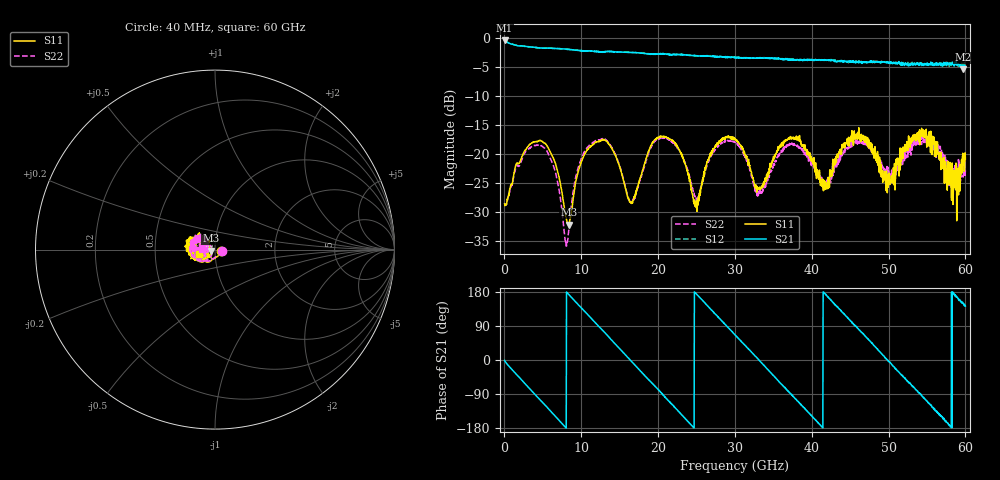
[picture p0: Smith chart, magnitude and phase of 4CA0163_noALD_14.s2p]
! File created by 'SoftPlot +Plus+ Measurement Management Software'
! SoftPlot +Plus+ Measurement Management Software
! Start 40.000000 MHz  Stop 60.000000 GHz  Points 1601
# MHZ S RI R 50
! S-Parameter data, F S11 S21 S12 S22
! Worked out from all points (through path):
!   1601 points, 40 MHz to 60 GHz, reference 50 ohm
!   highest |S21| = -0.35 dB at 40 MHz (marker M1); lowest = -5.3 dB at 59.66 GHz (marker M2)
!   group delay of S21, straight-line fit = 59.8 ps
!   lowest |S11| = -32.2 dB at 8.397 GHz (marker M3), VSWR 1.05, Z = 47.7 - j0.515 ohm
!   |S11| at or under -10 dB: start of sweep to end of sweep
!   |S22| runs from -35.9 to -16.8 dB; largest |S21 - S12| = 0.075
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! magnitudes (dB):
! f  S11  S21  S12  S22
! 40 MHz  -28.5  -0.3  -0.4  -28.4
! 4.762 GHz  -17.6  -1.6  -1.6  -18.5
! 7.985 GHz  -30.5  -1.8  -1.9  -35.5
! 8.397 GHz  -32.2  -1.9  -1.9  -32.8
! 10.05 GHz  -21.2  -2.1  -2.1  -20.7
! 13.23 GHz  -17.7  -2.3  -2.3  -17.5
! 16.6 GHz  -28.4  -2.4  -2.4  -28.3
! 20.05 GHz  -17.1  -2.7  -2.6  -17.3
! 22.79 GHz  -19.2  -2.8  -2.8  -19.4
! 24.92 GHz  -28.9  -3.0  -3.0  -27.7
! 27.21 GHz  -19.0  -3.1  -3.1  -19.5
! 30.02 GHz  -17.5  -3.2  -3.2  -17.9
! 33.09 GHz  -25.9  -3.4  -3.3  -26.5
! 36.95 GHz  -17.4  -3.6  -3.5  -18.5
! 40.03 GHz  -21.3  -3.6  -3.8  -21.4
! 42.01 GHz  -25.9  -3.8  -3.7  -25.1
! 45.83 GHz  -16.5  -4.1  -4.0  -17.6
! 50.03 GHz  -24.8  -4.1  -4.2  -24.0
! 54.42 GHz  -16.0  -4.6  -4.5  -17.3
! 58.35 GHz  -22.7  -4.4  -4.4  -24.6
! 59.66 GHz  -19.8  -5.3  -4.4  -22.0
! 60 GHz  -20.8  -4.8  -4.7  -22.8
